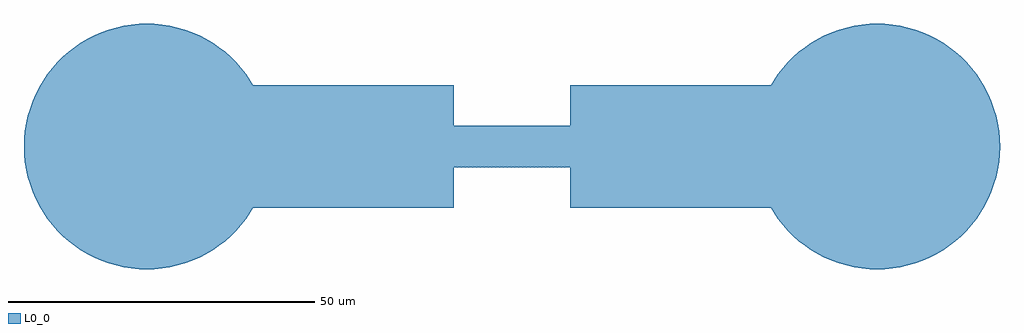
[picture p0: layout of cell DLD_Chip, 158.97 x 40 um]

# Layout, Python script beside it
import gdspy
import numpy as np

# Create a new library
lib = gdspy.GdsLibrary()

# Create a new cell
cell = lib.new_cell('DLD_Chip')

# Define parameters
gap_size = 0.225  # 225 nm
pillar_diameter = 0.4  # 400 nm
num_pillars_width = 30
row_shift_fraction = 0.1
inlet_outlet_diameter = 40  # 40 µm
bus_width = 20  # 20 µm
bus_length = 50  # 50 µm

# Calculate derived dimensions
pillar_center_distance = gap_size + pillar_diameter
array_width = num_pillars_width * pillar_center_distance
row_shift = pillar_center_distance * row_shift_fraction

# Calculate the number of rows needed to achieve a full shift
num_rows = int(1 / row_shift_fraction)

# Create the pillar array
for col in range(num_pillars_width):
    for row in range(num_rows):
        x = col * pillar_center_distance + (row * row_shift) % pillar_center_distance
        y = row * pillar_center_distance
        pillar = gdspy.Round((x, y), pillar_diameter / 2)
        cell.add(pillar)

# Create the channel
channel_width = array_width + gap_size
channel_height = num_rows * pillar_center_distance + gap_size
channel = gdspy.Rectangle((0, -gap_size/2), (channel_width, channel_height + gap_size/2))
cell.add(channel)

# Create inlet and outlet
inlet_center = (-bus_length, channel_height / 2)
outlet_center = (channel_width + bus_length, channel_height / 2)
inlet = gdspy.Round(inlet_center, inlet_outlet_diameter / 2)
outlet = gdspy.Round(outlet_center, inlet_outlet_diameter / 2)

# Create buses
inlet_bus = gdspy.Rectangle(
    (inlet_center[0], inlet_center[1] - bus_width / 2),
    (0, inlet_center[1] + bus_width / 2)
)
outlet_bus = gdspy.Rectangle(
    (channel_width, outlet_center[1] - bus_width / 2),
    (outlet_center[0], outlet_center[1] + bus_width / 2)
)

# Add inlet, outlet, and buses to the cell
cell.add(inlet)
cell.add(outlet)
cell.add(inlet_bus)
cell.add(outlet_bus)

# Save the design to a GDS file
lib.write_gds('dld_chip.gds')

# Display the layout (optional, requires a GUI)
